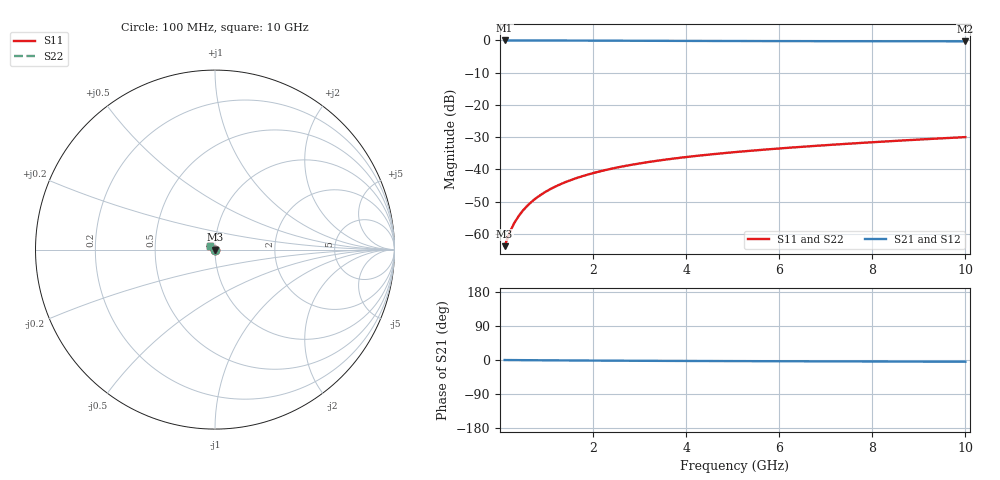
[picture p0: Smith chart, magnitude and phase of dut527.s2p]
! Touchstone file exported from HFSS 2024.1.0
!  File:  C:/UserFiles/LocalFiles/RDL_TSV_Batchsim/temp_TSV1_527_1779703984.aedt
!  Generated:  06:20:07 PM May 25, 2026
!  Design:  TSV1
!  Project:  temp_TSV1_527_1779703984
!  Setup:  Setup1
!  Solution:  Sweep
! Variables:
!  dtsv = 5.16um
!  hbump = 3um
!  htsv = 66.06um
!  lrdl = 252.1521522um
!  p = 40
!  p1 = 45.08um
!  t = 500um
!  trdl = 3um
!  wrdl = 24.89489489um
# GHz S MA R 50.000000
! Terminal data exported
! Port[1] = TSV22_T1
! Port[2] = TSV22_T2
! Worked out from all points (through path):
!   100 points, 100 MHz to 10 GHz, reference 50 ohm
!   highest |S21| = 0.00 dB at 100 MHz (marker M1); lowest = -0.3 dB at 10 GHz (marker M2)
!   lowest |S11| = -63.8 dB at 100 MHz (marker M3), VSWR 1.00, Z = 50 - j0.0473 ohm
!   |S11| at or under -10 dB: start of sweep to end of sweep
!   |S22| runs from -63.8 to -30.0 dB; largest |S21 - S12| = 4e-15
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0.1  0.0006468 -46.9  0.9995 -0.1  0.9995 -0.1  0.0006468 -46.9
! Gamma 0 0 0 0
! Port Impedance 50 0 50 0
0.2  0.001019 -68.0  0.9995 -0.2  0.9995 -0.2  0.001019 -68.0
0.3  0.001444 -78.7  0.9994 -0.3  0.9994 -0.3  0.001444 -78.7
0.4  0.001888 -85.4  0.9992 -0.3  0.9992 -0.3  0.001888 -85.4
0.5  0.00234 -90.3  0.999 -0.4  0.999 -0.4  0.00234 -90.3
0.6  0.002794 -94.4  0.9988 -0.5  0.9988 -0.5  0.002793 -94.4
0.7  0.003247 -97.8  0.9986 -0.6  0.9986 -0.6  0.003247 -97.8
0.8  0.003698 -100.9  0.9983 -0.7  0.9983 -0.7  0.003698 -100.9
0.9  0.004147 -103.8  0.998 -0.7  0.998 -0.7  0.004147 -103.8
1  0.004591 -106.5  0.9977 -0.8  0.9977 -0.8  0.004591 -106.5
1.2  0.005468 -111.5  0.997 -1.0  0.997 -1.0  0.005468 -111.5
1.5  0.006747 -118.5  0.9957 -1.2  0.9957 -1.2  0.006747 -118.5
1.8  0.007977 -125.0  0.9944 -1.4  0.9944 -1.4  0.007977 -125.0
2.1  0.009156 -131.1  0.9929 -1.6  0.9929 -1.6  0.009156 -131.1
2.5  0.01065 -138.7  0.9909 -1.8  0.9909 -1.8  0.01065 -138.7
2.9  0.01206 -145.7  0.9889 -2.0  0.9889 -2.0  0.01206 -145.7
3.4  0.01371 -153.8  0.9864 -2.3  0.9864 -2.3  0.01371 -153.8
4.2  0.01615 -165.4  0.9828 -2.6  0.9828 -2.6  0.01615 -165.4
5.1  0.01871 -176.4  0.9794 -2.9  0.9794 -2.9  0.01871 -176.4
6.7  0.023 167.8  0.9749 -3.5  0.9749 -3.5  0.023 167.8
8.4  0.02747 155.2  0.9716 -4.0  0.9716 -4.0  0.02747 155.2
10  0.03174 146.0  0.9693 -4.6  0.9693 -4.6  0.03174 146.0
